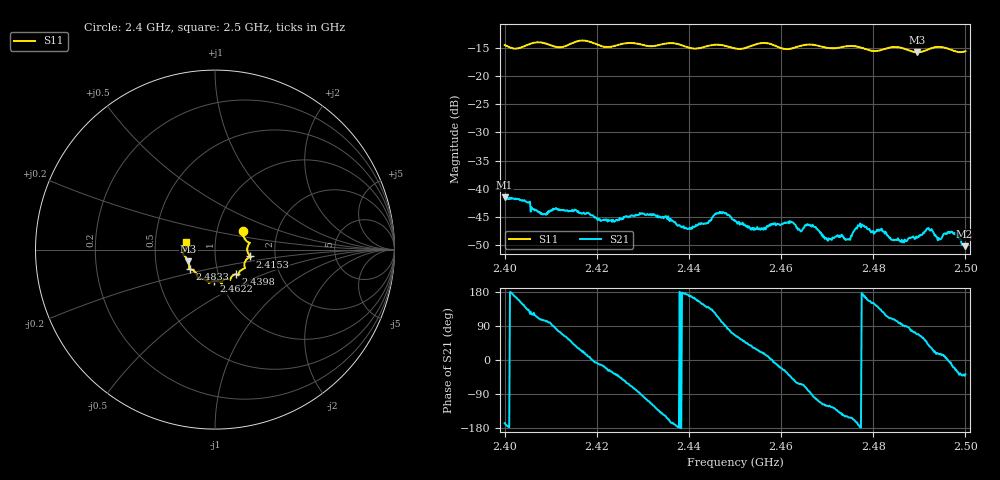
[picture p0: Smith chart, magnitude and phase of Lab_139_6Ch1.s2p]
# Hz S RI R 50
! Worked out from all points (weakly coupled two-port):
!   601 points, 2.4 GHz to 2.5 GHz, reference 50 ohm
!   highest |S21| = -41.51 dB at 2.4 GHz (marker M1); lowest = -50.2 dB at 2.4998 GHz (marker M2)
!   lowest |S11| = -15.8 dB at 2.4895 GHz (marker M3), VSWR 1.39, Z = 36.8 - j4.98 ohm
!   |S11| at or under -10 dB: start of sweep to end of sweep
!   S12 and S22 are empty: the file has one direction only
!   S11 on the Smith chart (normalised r, x): 2.4 GHz: 1.33, +0.29; 2.4153 GHz: 1.48, -0.12; 2.4398 GHz: 1.21, -0.34; 2.4622 GHz: 0.93, -0.33; 2.4833 GHz: 0.74, -0.17; 2.5 GHz: 0.72, +0.06
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2.4e9  0.1555 0.1053  -0.00818 -0.0019  0 0  0 0
2.408333e9  0.1936 0.0364  -0.00158 0.00568  0 0  0 0
2.415333e9  0.1966 -0.038  0.0051 0.00399  0 0  0 0
2.416667e9  0.2018 -0.0423  0.00548 0.00246  0 0  0 0
2.4235e9  0.1634 -0.0821  0.00442 -0.00295  0 0  0 0
2.433333e9  0.1314 -0.1338  -0.00376 -0.00409  0 0  0 0
2.439833e9  0.1145 -0.1373  -0.00437 0.000633  0 0  0 0
2.4465e9  0.0846 -0.1695  -0.00207 0.00565  0 0  0 0
2.45e9  0.0643 -0.1633  0.00219 0.00477  0 0  0 0
2.453833e9  0.0365 -0.1832  0.00376 0.00246  0 0  0 0
2.462167e9  -0.00725 -0.1747  0.00361 -0.00361  0 0  0 0
2.466667e9  -0.0343 -0.1866  -5.44e-05 -0.00461  0 0  0 0
2.4705e9  -0.0535 -0.1681  -0.00179 -0.00306  0 0  0 0
2.4745e9  -0.0895 -0.1607  -0.00307 -0.00177  0 0  0 0
2.477167e9  -0.097 -0.1509  -0.00491 -0.000203  0 0  0 0
2.483333e9  -0.1395 -0.11  -0.00141 0.00348  0 0  0 0
2.4895e9  -0.1479 -0.0658  0.00137 0.0034  0 0  0 0
2.492e9  -0.1686 -0.0357  0.00345 0.00286  0 0  0 0
2.494333e9  -0.1797 -0.022  0.00342 0.000911  0 0  0 0
2.496667e9  -0.1717 -0.00846  0.00402 -0.000493  0 0  0 0
2.499833e9  -0.1609 0.0369  0.00231 -0.00205  0 0  0 0
2.5e9  -0.1611 0.0397  0.00252 -0.00194  0 0  0 0
